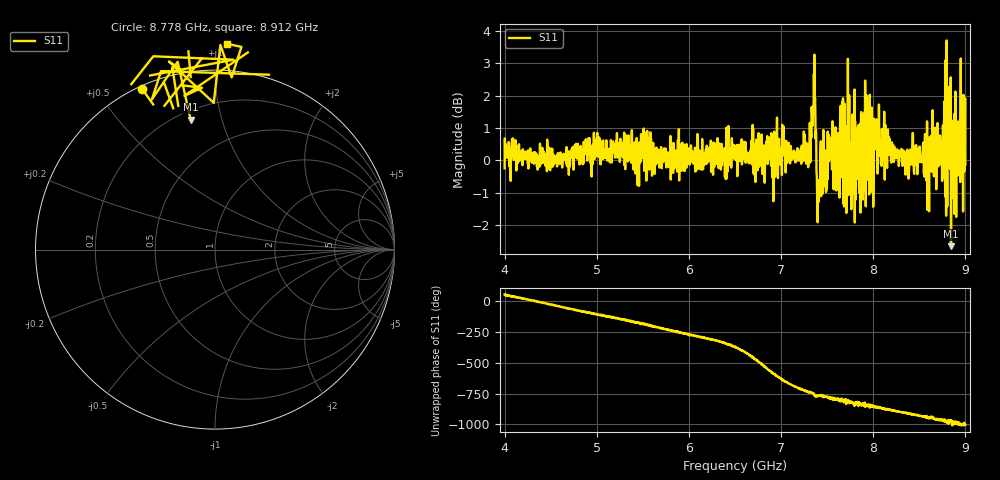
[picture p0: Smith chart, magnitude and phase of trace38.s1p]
! Created with skrf 1.8.0 (http://scikit-rf.org).
# Hz S RI R 50.0
!freq ReS11 ImS11
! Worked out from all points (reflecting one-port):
!   1601 points, 4 GHz to 9 GHz, reference 50 ohm
!   lowest |S11| = -2.7 dB at 8.844 GHz (marker M1), VSWR 6.60, Z = 12.6 + j39.9 ohm
!   phase of S11 starts at 51 deg and turns -1054 deg over the sweep
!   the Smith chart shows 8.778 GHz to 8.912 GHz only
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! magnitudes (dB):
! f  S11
! 4 GHz  -0.2
! 4.1 GHz  0.0
! 4.625 GHz  -0.2
! 5.25 GHz  0.0
! 5.875 GHz  -0.1
! 6.5 GHz  0.2
! 7.125 GHz  0.2
! 7.294 GHz  -0.2
! 7.347 GHz  1.4
! 7.356 GHz  2.7
! 7.397 GHz  -1.9
! 7.412 GHz  -1.1
! 7.534 GHz  0.3
! 7.609 GHz  -0.3
! 7.65 GHz  1.0
! 7.694 GHz  0.7
! 7.75 GHz  0.3
! 7.788 GHz  -0.1
! 7.928 GHz  2.0
! 7.981 GHz  -1.0
! 8.038 GHz  0.3
! 8.375 GHz  -0.2
! 8.728 GHz  0.4
! 8.816 GHz  0.5
! 8.844 GHz  -2.7
! 8.869 GHz  -1.2
! 8.972 GHz  0.4
! 9 GHz  -0.1
